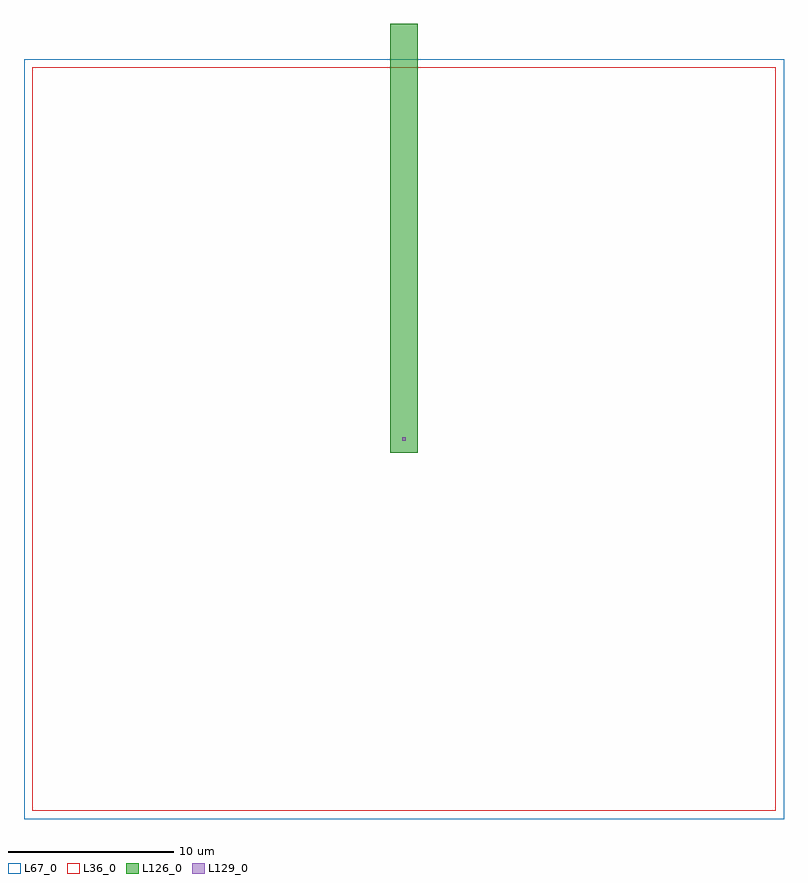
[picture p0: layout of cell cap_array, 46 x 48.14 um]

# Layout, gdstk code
import gdstk
lib = gdstk.Library(unit=1e-6, precision=1e-09)
def R(c, l, rs):  # rectangles x0, y0, x1, y1
    for r in rs: c.add(gdstk.rectangle(r[:2], r[2:], *l))
L36_0 = (36, 0)
L67_0 = (67, 0)
L126_0 = (126, 0)
L129_0 = (129, 0)

cap_array = lib.new_cell('cap_array')
R(cap_array, L36_0, [(0.5,0.5,45.5,45.5)])
R(cap_array, L67_0, [(0,0,46,46)])
R(cap_array, L126_0, [(22.18,22.18,23.82,23.82), (22.18,23.82,23.82,46.5), (22.18,46.5,23.82,48.14)])
R(cap_array, L129_0, [(22.89,22.89,23.11,23.11)])

lib.write_gds('cap_array.gds')
